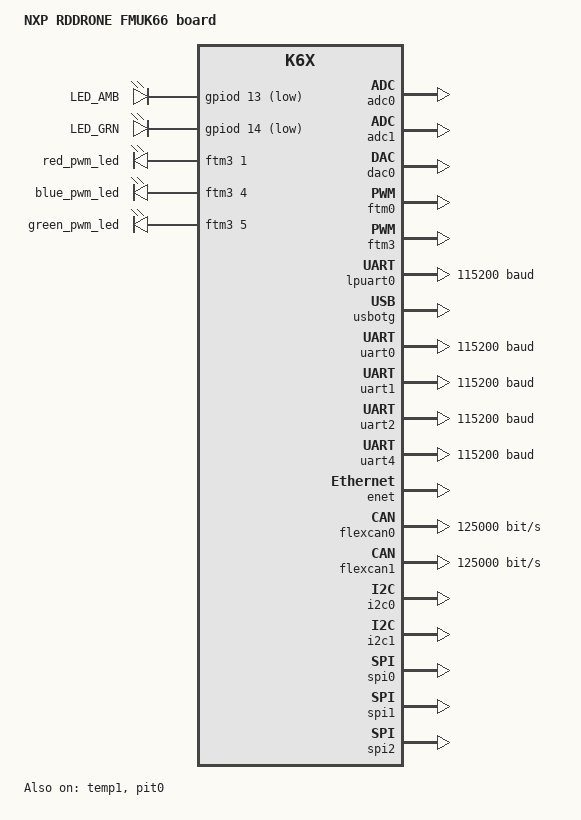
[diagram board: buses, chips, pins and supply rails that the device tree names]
/*
 * Copyright (c) 2021, Electromaticus LLC, 2021 NXP
 *
 * SPDX-License-Identifier: Apache-2.0
 */

/dts-v1/;

#include <nxp/MK66FN2M0VLQ18.dtsi>
#include <dt-bindings/pwm/pwm.h>

/ {
	model = "NXP RDDRONE FMUK66 board";
	compatible = "nxp,mk66f18", "nxp,k66f", "nxp,k6x";

	aliases {
		led0 = &amber_led;
		led1 = &green_led;
		pwm-led0 = &red_pwm_led;
		pwm-led1 = &green_pwm_led;
		pwm-led2 = &blue_pwm_led;
	};

	chosen {
		zephyr,sram = &sram0;
		zephyr,flash = &flash0;
		zephyr,code-partition = &slot0_partition;
		zephyr,console = &lpuart0;
		zephyr,shell-uart = &lpuart0;
		zephyr,uart-pipe = &lpuart0;
		zephyr,canbus = &flexcan0;
	};

	leds {
		compatible = "gpio-leds";
		amber_led: led_0 {
			gpios = <&gpiod 13 GPIO_ACTIVE_LOW>;
			label = "LED_AMB";
		};
		green_led: led_1 {
			gpios = <&gpiod 14 GPIO_ACTIVE_LOW>;
			label = "LED_GRN";
		};
	};

	pwmleds {
		compatible = "pwm-leds";

		red_pwm_led: red_pwm_led {
			pwms = <&ftm3 1 15625000 PWM_POLARITY_INVERTED>;
		};
		blue_pwm_led: blue_pwm_led {
			pwms = <&ftm3 4 15625000 PWM_POLARITY_INVERTED>;
		};
		green_pwm_led: green_pwm_led {
			pwms = <&ftm3 5 15625000 PWM_POLARITY_INVERTED>;
		};
	};
};

&sim {
	pllfll-select = <KINETIS_SIM_PLLFLLSEL_MCGPLLCLK>;
	er32k-select = <KINETIS_SIM_ER32KSEL_RTC>;
};

&cpu0 {
	clock-frequency = <160000000>;
};

&adc0 {
	status = "okay";
};

&adc1 {
	status = "okay";
};

&temp1 {
	status = "okay";
};

&dac0 {
	status = "okay";
	voltage-reference = <2>;
};

/* PWM header is powered by FlexTimer 0 for channels 1 to 4 */
&ftm0 {
	status = "okay";
	compatible = "nxp,kinetis-ftm-pwm";
	#pwm-cells = <3>;
	pinctrl-0 = <&FTM0_CH0_PTC1 &FTM0_CH1_PTA4 &FTM0_CH4_PTD4 &FTM0_CH5_PTD5>;
};


/* RGB LED powered by FlexTimer 3, and PWM headers for channel 5 and 6 */
&ftm3 {
	status = "okay";
	compatible = "nxp,kinetis-ftm-pwm";
	#pwm-cells = <3>;
	pinctrl-0 = <&FTM3_CH3_PTD3 &FTM3_CH4_PTC8 &FTM3_CH5_PTC9 &FTM3_CH6_PTE11 &FTM3_CH7_PTE12>;
};

/* LPUART connected to debug header */
&lpuart0 {
	status = "okay";
	current-speed = <115200>;
	pinctrl-0 = <&LPUART0_RX_PTD8 &LPUART0_TX_PTD9>;
};

zephyr_udc0: &usbotg {
	compatible = "nxp,kinetis-usbd";
	status = "okay";
	num-bidir-endpoints = <8>;
};

&uart0 {
	status = "okay";
	current-speed = <115200>;
	pinctrl-0 = <&UART0_RX_PTA1 &UART0_TX_PTA2>;
};

&uart1 {
	status = "okay";
	current-speed = <115200>;
	pinctrl-0 = <&UART1_RX_PTC3 &UART1_TX_PTC4>;
};

&uart2 {
	status = "okay";
	current-speed = <115200>;
	pinctrl-0 = <&UART2_RX_PTD2 &UART2_TX_PTD3>;
};

&uart4 {
	status = "okay";
	current-speed = <115200>;
	pinctrl-0 = <&UART4_RTS_b_PTE27 &UART4_CTS_b_PTC13 &UART4_RX_PTC14 &UART4_TX_PTC15>;
};

&usbotg {
	compatible = "nxp,kinetis-usbd";
	status = "okay";
	num-bidir-endpoints = <8>;
};

&gpioa {
	status = "okay";
};

&gpiob {
	status = "okay";
};

&gpioc {
	status = "okay";
};

&gpiod {
	status = "okay";
};

&gpioe {
	status = "okay";
};

&flash0 {

	partitions {
		compatible = "fixed-partitions";
		#address-cells = <1>;
		#size-cells = <1>;

		boot_partition: partition@0 {
			label = "mcuboot";
			reg = <0x00000000 0x00010000>;
			read-only;
		};

		/*
		 * The flash starting at 0x00010000 and ending at
		 * 0x0001ffff (sectors 16-31) is reserved for use
		 * by the application.
		 */
		storage_partition: partition@1e000 {
			label = "storage";
			reg = <0x0001e000 0x00002000>;
		};

		slot0_partition: partition@20000 {
			label = "image-0";
			reg = <0x00020000 0x00060000>;
		};
		slot1_partition: partition@80000 {
			label = "image-1";
			reg = <0x00080000 0x00060000>;
		};
		scratch_partition: partition@e0000 {
			label = "image-scratch";
			reg = <0x000e0000 0x00020000>;
		};
	};
};

&enet {
	status = "okay";
	pinctrl-0 = <&RMII0_RXER_PTA5 &RMII0_RXD1_PTA12
		     &RMII0_RXD0_PTA13 &RMII0_CRS_DV_PTA14
		     &RMII0_TXEN_PTA15 &RMII0_TXD0_PTA16
		     &RMII0_TXD1_PTA17 &RMII0_MDIO_PTB0
		     &RMII0_MDC_PTB1>;
};

&RMII0_MDIO_PTB0 {
	bias-pull-up;
	drive-open-drain;
};

&flexcan0 {
	status = "okay";
	pinctrl-0 = <&CAN0_TX_PTB18 &CAN0_RX_PTB19>;
	bus-speed = <125000>;
};

&CAN0_RX_PTB19 {
	bias-pull-up;
};

&flexcan1 {
	status = "okay";
	pinctrl-0 = <&CAN1_TX_PTC17 &CAN1_RX_PTC16>;
	bus-speed = <125000>;
};

&CAN1_RX_PTC16 {
	bias-pull-up;
};

/* external i2c port */
&i2c0 {
	status = "okay";
	pinctrl-0 = <&I2C0_SCL_PTE24 &I2C0_SDA_PTE25>;
};

/* magnetometer (bmm150), barometer (bmp280), pressure (mpl3115),
 * secure element (a7102ch) i2c bus
 */
&i2c1 {
	status = "okay";
	pinctrl-0 = <&I2C1_SCL_PTC10 &I2C1_SDA_PTC11>;
};

/* f-ram spi port */
&spi0 {
	status = "okay";
	pinctrl-0 = <&SPI0_PCS2_PTC2 &SPI0_SCK_PTC5 &SPI0_SOUT_PTC6 &SPI0_SIN_PTC7>;
};

/* flash (w25x40), accel, magneto (fxos8700), gyro (fxas2100) */
&spi1 {
	status = "okay";
	pinctrl-0 = <&SPI1_PCS0_PTB10 &SPI1_PCS1_PTB9 &SPI1_SCK_PTB11
			&SPI1_SOUT_PTB16 &SPI1_SIN_PTB17>;
};

/* external spi */
&spi2 {
	status = "okay";
	pinctrl-0 = <&SPI2_PCS0_PTB20 &SPI2_SCK_PTB21 &SPI2_SOUT_PTB22 &SPI2_SIN_PTB23>;
};

&edma0 {
	status = "okay";
};

&pit0 {
	status = "okay";
};
